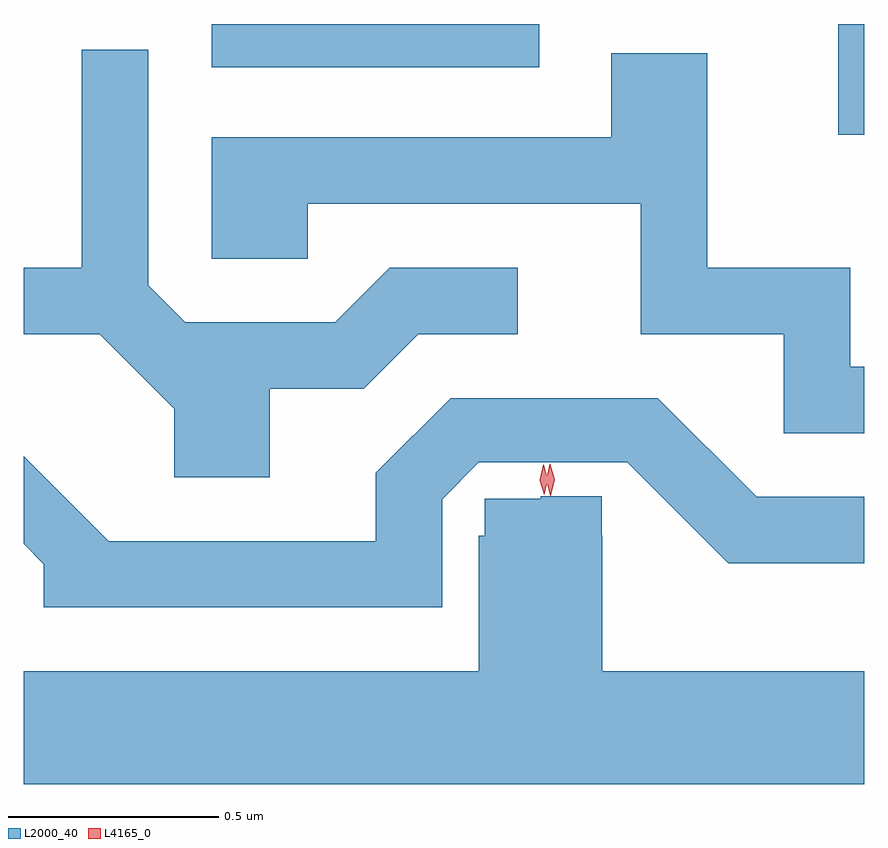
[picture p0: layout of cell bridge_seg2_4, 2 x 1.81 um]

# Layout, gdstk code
import gdstk
lib = gdstk.Library(unit=1e-6, precision=1e-09)
def R(c, l, rs):  # rectangles x0, y0, x1, y1
    for r in rs: c.add(gdstk.rectangle(r[:2], r[2:], *l))
def P(c, l, *ps):  # polygons
    for p in ps: c.add(gdstk.Polygon(p, *l))
L2000_40 = (2000, 40)
L4165_0 = (4165, 0)

bridge_seg2_4 = lib.new_cell('bridge_seg2_4')
R(bridge_seg2_4, L2000_40, [(1896.081,1014.341,1896.143,1014.604), (1894.591,1014.501,1895.369,1014.604)])
P(bridge_seg2_4, L2000_40, [(1894.729,1013.736),(1894.952,1013.736),(1895.082,1013.866),(1895.318,1013.866),(1895.318,1014.024),(1895.014,1014.024),(1894.884,1013.894),(1894.527,1013.894),(1894.439,1013.982),(1894.439,1014.543),(1894.281,1014.543),(1894.281,1014.024),(1894.143,1014.024),(1894.143,1013.866),(1894.324,1013.866),(1894.501,1013.689),(1894.501,1013.526),(1894.729,1013.526)],
  [(1896.143,1013.789),(1896.109,1013.789),(1896.109,1014.024),(1895.769,1014.024),(1895.769,1014.534),(1895.541,1014.534),(1895.541,1014.334),(1894.591,1014.334),(1894.591,1014.046),(1894.819,1014.046),(1894.819,1014.176),(1895.611,1014.176),(1895.611,1013.866),(1895.951,1013.866),(1895.951,1013.631),(1896.143,1013.631)],
  [(1895.139,1013.474),(1895.226,1013.561),(1895.579,1013.561),(1895.819,1013.321),(1896.143,1013.321),(1896.143,1013.479),(1895.887,1013.479),(1895.652,1013.714),(1895.159,1013.714),(1894.981,1013.537),(1894.981,1013.374),(1894.345,1013.374),(1894.143,1013.576),(1894.143,1013.367),(1894.191,1013.319),(1894.191,1013.216),(1895.139,1013.216)],
  [(1896.143,1013.064),(1895.519,1013.064),(1895.519,1013.387),(1895.518,1013.387),(1895.518,1013.48),(1895.373,1013.48),(1895.373,1013.475),(1895.24,1013.475),(1895.24,1013.387),(1895.226,1013.387),(1895.226,1013.064),(1894.143,1013.064),(1894.143,1012.796),(1896.143,1012.796)])
P(bridge_seg2_4, L4165_0, [(1895.397,1013.482),(1895.396,1013.483),(1895.386,1013.52),(1895.395,1013.557),(1895.395,1013.558),(1895.396,1013.557),(1895.406,1013.52),(1895.397,1013.483)],
  [(1895.381,1013.484),(1895.381,1013.484),(1895.371,1013.519),(1895.379,1013.555),(1895.38,1013.555),(1895.38,1013.555),(1895.39,1013.52),(1895.382,1013.484)])

lib.write_gds('bridge_seg2_4.gds')
